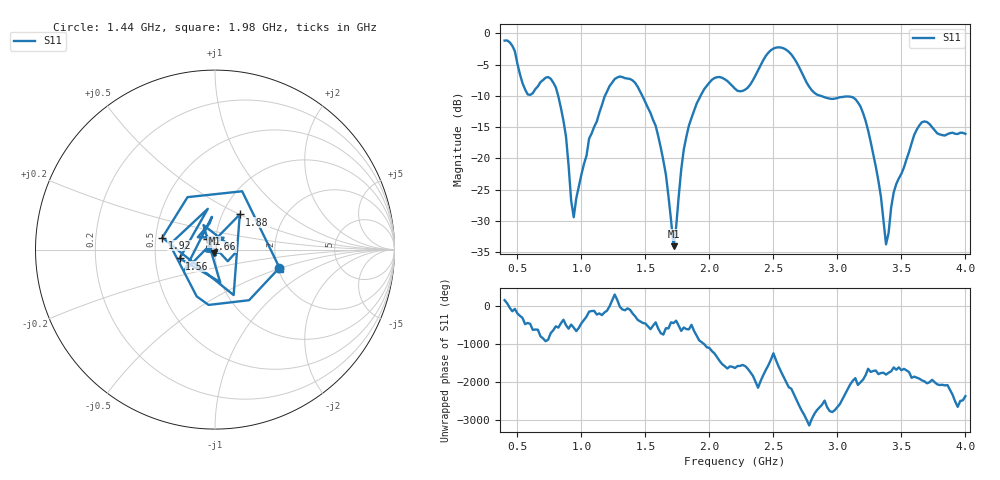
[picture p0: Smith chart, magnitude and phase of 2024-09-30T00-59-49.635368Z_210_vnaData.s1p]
!Created with skrf (http://scikit-rf.org).
# Hz S RI R 50.0
!freq ReS11 ImS11
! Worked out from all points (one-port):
!   181 points, 400 MHz to 4 GHz, reference 50 ohm
!   lowest |S11| = -34.0 dB at 1.72 GHz (marker M1), VSWR 1.04, Z = 49.6 - j1.95 ohm
!   |S11| at or under -10 dB: 818.6 MHz to 1.184 GHz (365.6 MHz wide, 36.5 % of centre); 1.476 GHz to 1.931 GHz (454.9 MHz wide, 26.7 % of centre); 2.87 GHz to end of sweep
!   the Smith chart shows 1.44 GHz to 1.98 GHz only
!   S11 on the Smith chart (normalised r, x): 1.44 GHz: 2.05, -0.48; 1.56 GHz: 0.67, -0.07; 1.66 GHz: 0.91, +0.11; 1.88 GHz: 1.21, +0.50; 1.92 GHz: 0.54, +0.08; 1.98 GHz: 2.05, -0.53
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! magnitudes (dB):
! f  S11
! 400 MHz  -1.2
! 580 MHz  -9.8
! 760 MHz  -7.3
! 860 MHz  -14.0
! 940 MHz  -29.4
! 1.06 GHz  -16.8
! 1.3 GHz  -6.9
! 1.44 GHz  -8.6
! 1.56 GHz  -13.8
! 1.66 GHz  -22.6
! 1.72 GHz  -34.0
! 1.76 GHz  -26.1
! 1.8 GHz  -18.6
! 1.88 GHz  -12.4
! 1.92 GHz  -10.4
! 1.98 GHz  -8.4
! 2.2 GHz  -8.9
! 2.5 GHz  -2.4
! 2.66 GHz  -4.0
! 2.84 GHz  -9.8
! 3.1 GHz  -10.1
! 3.24 GHz  -15.5
! 3.34 GHz  -26.1
! 3.38 GHz  -33.7
! 3.44 GHz  -25.4
! 3.56 GHz  -19.0
! 3.66 GHz  -14.2
! 4 GHz  -16.1
